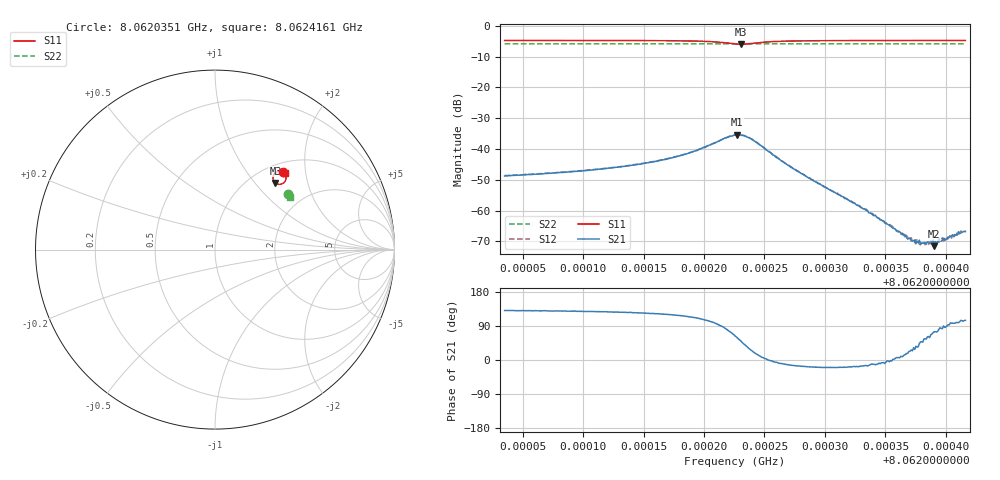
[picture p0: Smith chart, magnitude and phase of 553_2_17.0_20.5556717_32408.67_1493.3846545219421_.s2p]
#  HZ  S  RI  R  50.00
! Rohde & Schwarz Vector Network Analyzer
! Rohde-Schwarz,ZNB20-2Port,1311601062101988,3.16
! Created: UTC 3/20/2024, 11:16:53 PM
! freq[Hz]  re:S11  im:S11  re:S21  im:S21  re:S12  im:S12  re:S22  im:S22
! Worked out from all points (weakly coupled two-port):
!   401 points, 8.0620351 GHz to 8.0624161 GHz, reference 50 ohm
!   highest |S21| = -35.38 dB at 8.0622275 GHz (marker M1); lowest = -71.5 dB at 8.0623904 GHz (marker M2)
!   lowest |S11| = -6.0 dB at 8.0622304 GHz (marker M3), VSWR 3.01, Z = 64.7 + j64.3 ohm
!   |S11| at or under -10 dB: nowhere
!   |S22| runs from -5.9 to -5.9 dB; largest |S21 - S12| = 0.0012
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8.06203512e9  0.3794 0.4334  -0.00237 0.00276  -0.00223 0.00292  0.404 0.3094
8.06209894e9  0.385 0.4276  -0.00275 0.00346  -0.00254 0.00367  0.4064 0.3062
8.06212846e9  0.3882 0.4237  -0.00298 0.00408  -0.0028 0.00427  0.4075 0.3044
8.06216276e9  0.3927 0.416  -0.00342 0.00547  -0.0031 0.00574  0.4087 0.3025
8.06218657e9  0.3959 0.405  -0.00354 0.0077  -0.00309 0.00794  0.4095 0.3007
8.06221038e9  0.3898 0.3796  -0.0012 0.0129  -0.000498 0.013  0.4098 0.2986
8.06222562e9  0.3531 0.364  0.00738 0.0151  0.00826 0.0147  0.4084 0.2976
8.06222753e9  0.3463 0.366  0.00898 0.0145  0.0098 0.0141  0.4082 0.2977
8.06223039e9  0.3366 0.3717  0.0107 0.013  0.0115 0.0124  0.4078 0.298
8.06224087e9  0.3236 0.4058  0.0129 0.0049  0.0132 0.00429  0.4079 0.2993
8.06226658e9  0.3532 0.4358  0.00581 -0.00113  0.00584 -0.0015  0.4107 0.299
8.06228945e9  0.3672 0.4357  0.00298 -0.00097  0.00295 -0.0012  0.4121 0.2977
8.06233326e9  0.3789 0.4315  0.00101 -0.000263  0.000998 -0.000348  0.4139 0.2951
8.06235327e9  0.3821 0.4296  0.000576 -4.72e-05  0.000593 -6.66e-05  0.4147 0.2941
8.06236089e9  0.383 0.4291  0.000448 5.03e-05  0.000462 1.77e-05  0.415 0.2937
8.06237327e9  0.3846 0.4282  0.000276 0.000175  0.000277 0.000152  0.4154 0.293
8.06237899e9  0.3852 0.4277  0.000196 0.000215  0.000192 0.000202  0.4157 0.2926
8.06239042e9  0.3864 0.4267  7.1e-05 0.000255  0.000121 0.000278  0.416 0.2921
8.06239994e9  0.3874 0.4261  1.59e-05 0.00034  1.7e-05 0.000317  0.4165 0.2917
8.0624047e9  0.3878 0.4257  -4.84e-05 0.000383  -1.35e-05 0.000357  0.4167 0.2913
8.06241137e9  0.3883 0.4253  -7.97e-05 0.000413  -5.71e-05 0.000435  0.4169 0.2911
8.06241614e9  0.3888 0.425  -0.000116 0.000447  -7.86e-05 0.000446  0.417 0.2907
